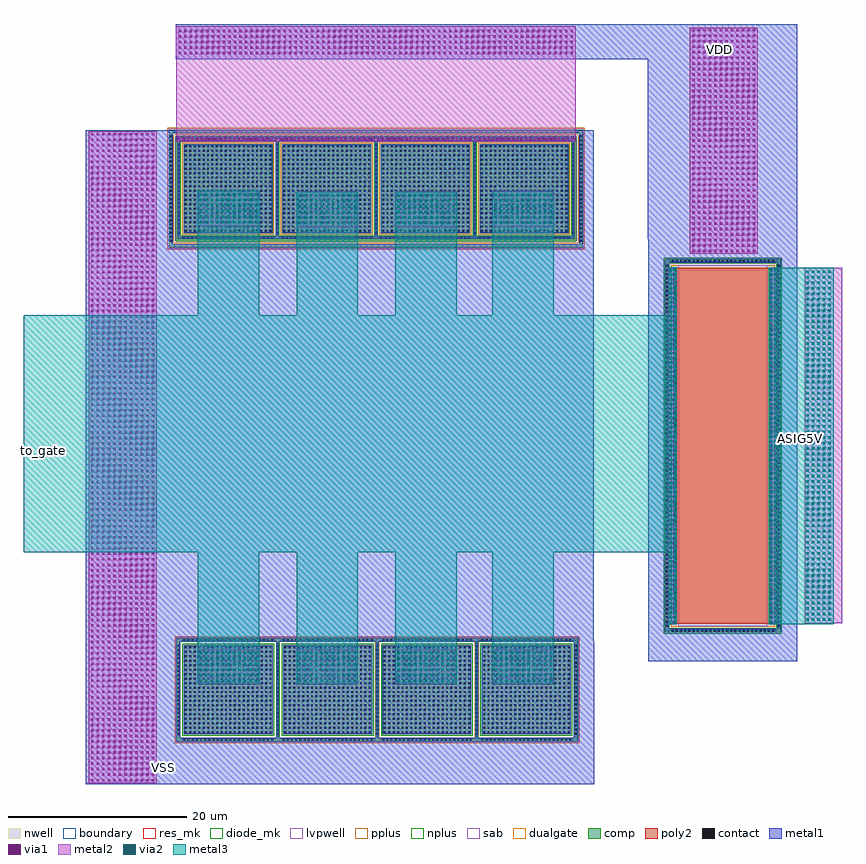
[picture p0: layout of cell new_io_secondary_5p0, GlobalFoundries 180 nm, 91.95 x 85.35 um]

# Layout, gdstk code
from math import pi, radians
import gdstk
lib = gdstk.Library(unit=1e-6, precision=5e-09)
def R(c, l, rs):  # rectangles x0, y0, x1, y1
    for r in rs: c.add(gdstk.rectangle(r[:2], r[2:], *l))
def A(c, l, x, y, w, h, nx, ny, dx, dy):  # array of equal rectangles
    R(c, l, [(x+i*dx, y+j*dy, x+i*dx+w, y+j*dy+h) for i in range(nx) for j in range(ny)])
boundary = (0, 0)
nwell = (21, 0)
comp = (22, 0)
poly2 = (30, 0)
pplus = (31, 0)
nplus = (32, 0)
contact = (33, 0)
metal1 = (34, 0)
via1 = (35, 0)
metal2 = (36, 0)
via2 = (38, 0)
metal3 = (42, 0)
sab = (49, 0)
dualgate = (55, 0)
res_mk = (110, 5)
diode_mk = (115, 5)
lvpwell = (204, 0)

ppolyf_u_9h3lnu = lib.new_cell('ppolyf_u_9H3LNU')
R(ppolyf_u_9h3lnu, boundary, [(-20.78,-6.29,20.78,6.29)])
R(ppolyf_u_9h3lnu, nwell, [(-21.08,-6.59,21.08,6.59)])
R(ppolyf_u_9h3lnu, comp, [(-20.96,-6.47,20.96,-6.11), (-20.96,-6.11,-20.6,6.11), (20.6,-6.11,20.96,6.11), (-20.96,6.11,20.96,6.47)])
R(ppolyf_u_9h3lnu, poly2, [(-20,-5.51,20,5.51)])
R(ppolyf_u_9h3lnu, pplus, [(-20.3,-5.81,20.3,5.81)])
R(ppolyf_u_9h3lnu, nplus, [(-21.12,-6.63,21.12,-6), (-21.12,-6,-20.49,6), (20.49,-6,21.12,6), (-21.12,6,21.12,6.63)])
A(ppolyf_u_9h3lnu, contact, -20.32, -6.4, 0.22, 0.22, 87, 2, 0.47, 12.58)
A(ppolyf_u_9h3lnu, contact, -20.89, -5.75, 0.22, 0.22, 1, 25, 0, 0.47)
A(ppolyf_u_9h3lnu, contact, 20.67, -5.75, 0.22, 0.22, 1, 25, 0, 0.47)
A(ppolyf_u_9h3lnu, contact, -19.85, -5.44, 0.22, 0.22, 85, 2, 0.47, 10.66)
R(ppolyf_u_9h3lnu, metal1, [(-20.895,-6.405,20.895,-6.175), (-20.895,-6.175,-20.665,6.175), (20.665,-6.175,20.895,6.175), (-19.99,-5.445,19.99,-5.215), (-19.99,5.215,19.99,5.445), (-20.895,6.175,20.895,6.405)])
R(ppolyf_u_9h3lnu, sab, [(-20.28,-5,20.28,5)])
R(ppolyf_u_9h3lnu, res_mk, [(-20,-5,20,5)])

diode_pd2nw_06v0_5dg9hc = lib.new_cell('diode_pd2nw_06v0_5DG9HC')
R(diode_pd2nw_06v0_5dg9hc, boundary, [(11.08,-5.54,22.16,5.54)])
R(diode_pd2nw_06v0_5dg9hc, nwell, [(-22.5,-5.88,22.5,5.88)])
A(diode_pd2nw_06v0_5dg9hc, comp, -22.34, -5.36, 0.36, 10.72, 5, 1, 11.08, 0)
A(diode_pd2nw_06v0_5dg9hc, comp, -21.62, -5, 10, 10, 4, 1, 11.08, 0)
R(diode_pd2nw_06v0_5dg9hc, comp, [(-23.22,-6.6,23.22,-6.24), (-23.22,-6.24,-22.86,6.24), (22.86,-6.24,23.22,6.24), (-22.34,-5.72,22.34,-5.36), (-22.34,5.36,22.34,5.72), (-23.22,6.24,23.22,6.6)])
A(diode_pd2nw_06v0_5dg9hc, pplus, -21.78, -5.16, 10.32, 10.32, 4, 1, 11.08, 0)
R(diode_pd2nw_06v0_5dg9hc, pplus, [(-23.24,-6.62,23.24,-6.115), (-23.25,-6.115,23.25,-6.08), (-23.25,-6.08,-22.7,6.08), (22.7,-6.08,23.25,6.08), (-23.25,6.08,23.25,6.115), (-23.24,6.115,23.24,6.62)])
A(diode_pd2nw_06v0_5dg9hc, nplus, -11.29, -5.29, 0.42, 10.58, 3, 1, 11.08, 0)
R(diode_pd2nw_06v0_5dg9hc, nplus, [(-22.5,-5.88,22.5,-5.29), (-22.5,-5.29,-21.91,5.29), (21.91,-5.29,22.5,5.29), (-22.5,5.29,22.5,5.88)])
A(diode_pd2nw_06v0_5dg9hc, contact, -23.15, -5.985, 0.22, 0.22, 1, 26, 0, 0.47)
A(diode_pd2nw_06v0_5dg9hc, contact, 22.93, -5.985, 0.22, 0.22, 1, 26, 0, 0.47)
A(diode_pd2nw_06v0_5dg9hc, contact, -21.665, -5.65, 0.22, 0.22, 22, 2, 0.47, 11.08)
A(diode_pd2nw_06v0_5dg9hc, contact, -10.585, -5.65, 0.22, 0.22, 22, 2, 0.47, 11.08)
A(diode_pd2nw_06v0_5dg9hc, contact, 0.495, -5.65, 0.22, 0.22, 22, 2, 0.47, 11.08)
A(diode_pd2nw_06v0_5dg9hc, contact, 11.575, -5.65, 0.22, 0.22, 22, 2, 0.47, 11.08)
A(diode_pd2nw_06v0_5dg9hc, contact, -22.27, -5.045, 0.22, 0.22, 5, 22, 11.08, 0.47)
A(diode_pd2nw_06v0_5dg9hc, contact, -21.48, -4.86, 0.22, 0.22, 20, 20, 0.5, 0.5)
A(diode_pd2nw_06v0_5dg9hc, contact, -10.4, -4.86, 0.22, 0.22, 20, 20, 0.5, 0.5)
A(diode_pd2nw_06v0_5dg9hc, contact, 0.68, -4.86, 0.22, 0.22, 20, 20, 0.5, 0.5)
A(diode_pd2nw_06v0_5dg9hc, contact, 11.76, -4.86, 0.22, 0.22, 20, 20, 0.5, 0.5)
A(diode_pd2nw_06v0_5dg9hc, metal1, -22.275, -5.425, 0.23, 10.85, 5, 1, 11.08, 0)
A(diode_pd2nw_06v0_5dg9hc, metal1, -21.61, -4.935, 9.98, 9.87, 4, 1, 11.08, 0)
R(diode_pd2nw_06v0_5dg9hc, metal1, [(-23.155,-6.535,23.155,-6.305), (-23.155,-6.305,-22.925,6.305), (22.925,-6.305,23.155,6.305), (-22.275,-5.655,22.275,-5.425), (-22.275,5.425,22.275,5.655), (-23.155,6.305,23.155,6.535)])
R(diode_pd2nw_06v0_5dg9hc, dualgate, [(-23.46,-6.84,23.46,6.84)])
A(diode_pd2nw_06v0_5dg9hc, diode_mk, -21.62, -5, 10, 10, 4, 1, 11.08, 0)
R(diode_pd2nw_06v0_5dg9hc, lvpwell, [(-23.38,-6.76,23.38,-5.88), (-23.38,-5.88,-22.5,5.88), (22.5,-5.88,23.38,5.88), (-23.38,5.88,23.38,6.76)])

diode_nd2ps_06v0_mv3sz3 = lib.new_cell('diode_nd2ps_06v0_MV3SZ3')
R(diode_nd2ps_06v0_mv3sz3, boundary, [(11.16,-5.58,22.32,5.58)])
A(diode_nd2ps_06v0_mv3sz3, comp, -22.5, -5.4, 0.36, 10.8, 5, 1, 11.16, 0)
A(diode_nd2ps_06v0_mv3sz3, comp, -21.74, -5, 10, 10, 4, 1, 11.16, 0)
R(diode_nd2ps_06v0_mv3sz3, comp, [(-22.5,-5.76,22.5,-5.4), (-22.5,5.4,22.5,5.76)])
A(diode_nd2ps_06v0_mv3sz3, pplus, -22.015, -5.79, 10.55, 0.01, 4, 2, 11.16, 11.57)
A(diode_nd2ps_06v0_mv3sz3, pplus, -11.37, -5.37, 0.42, 10.74, 3, 1, 11.16, 0)
R(diode_nd2ps_06v0_mv3sz3, pplus, [(-22.52,-5.78,22.52,-5.37), (-22.52,-5.37,-22.11,-5.275), (22.11,-5.37,22.52,-5.275), (-22.53,-5.275,-22.11,5.275), (22.11,-5.275,22.53,5.275), (-22.52,5.275,-22.11,5.37), (22.11,5.275,22.52,5.37), (-22.52,5.37,22.52,5.78)])
A(diode_nd2ps_06v0_mv3sz3, nplus, -21.9, -5.16, 10.32, 10.32, 4, 1, 11.16, 0)
A(diode_nd2ps_06v0_mv3sz3, contact, -21.785, -5.69, 0.22, 0.22, 22, 2, 0.47, 11.16)
A(diode_nd2ps_06v0_mv3sz3, contact, -10.625, -5.69, 0.22, 0.22, 22, 2, 0.47, 11.16)
A(diode_nd2ps_06v0_mv3sz3, contact, 0.535, -5.69, 0.22, 0.22, 22, 2, 0.47, 11.16)
A(diode_nd2ps_06v0_mv3sz3, contact, 11.695, -5.69, 0.22, 0.22, 22, 2, 0.47, 11.16)
A(diode_nd2ps_06v0_mv3sz3, contact, -22.43, -5.045, 0.22, 0.22, 5, 22, 11.16, 0.47)
A(diode_nd2ps_06v0_mv3sz3, contact, -21.6, -4.86, 0.22, 0.22, 20, 20, 0.5, 0.5)
A(diode_nd2ps_06v0_mv3sz3, contact, -10.44, -4.86, 0.22, 0.22, 20, 20, 0.5, 0.5)
A(diode_nd2ps_06v0_mv3sz3, contact, 0.72, -4.86, 0.22, 0.22, 20, 20, 0.5, 0.5)
A(diode_nd2ps_06v0_mv3sz3, contact, 11.88, -4.86, 0.22, 0.22, 20, 20, 0.5, 0.5)
A(diode_nd2ps_06v0_mv3sz3, metal1, -22.435, -5.465, 0.23, 10.93, 5, 1, 11.16, 0)
A(diode_nd2ps_06v0_mv3sz3, metal1, -21.73, -4.935, 9.98, 9.87, 4, 1, 11.16, 0)
R(diode_nd2ps_06v0_mv3sz3, metal1, [(-22.435,-5.695,22.435,-5.465), (-22.435,5.465,22.435,5.695)])
R(diode_nd2ps_06v0_mv3sz3, dualgate, [(-22.74,-6,22.74,6)])
A(diode_nd2ps_06v0_mv3sz3, diode_mk, -21.74, -5, 10, 10, 4, 1, 11.16, 0)
R(diode_nd2ps_06v0_mv3sz3, lvpwell, [(-22.62,-5.88,22.62,5.88)])

new_io_secondary_5p0 = lib.new_cell('new_io_secondary_5p0')
R(new_io_secondary_5p0, metal1, [(-42.3,-24.15,14.76,-19.05), (-42.3,-19.05,-31.79,-8.25), (12.51,-19.05,14.76,-9.4), (-29.7,-12.95,-22.9,-12.065), (-18.6,-12.95,-11.8,-12.065), (-7.5,-12.95,-0.7,-12.05), (3.4,-12.95,10.2,-12.05), (-29.71,-12.065,-22.9,-9.145), (-18.625,-12.065,-11.8,-9.145), (-7.5,-12.05,-0.695,-9.13), (3.4,-12.05,10.205,-9.13), (20.85,-10.35,37.6,-6.7), (12.5,-9.4,14.76,-8.25), (-29.7,-9.145,-22.9,-9.1), (-18.6,-9.145,-11.8,-9.1), (-7.5,-9.13,-0.7,-9.1), (3.4,-9.13,10.2,-9.1), (-42.3,-8.25,-31.8,-8.1), (12.5,-8.25,14.75,-8.1), (-42.3,-8.1,14.75,36.45), (20.85,-6.7,23.15,34.4), (35.35,-6.7,37.6,34.4), (23.4,-6.2,24.05,33.85), (34.4,-6.2,35.05,33.85), (20.85,34.4,37.6,37.05), (-42.3,36.45,-32.55,49.25), (13.1,36.45,14.75,49.25), (20.8,37.05,37.6,57.24), (-18.6,38.5,-11.8,38.565), (-7.5,38.5,-0.7,38.545), (-7.505,38.545,-0.7,41.465), (3.4,38.55,10.2,38.615), (-18.63,38.565,-11.8,41.485), (-29.7,38.6,-22.9,38.66), (3.4,38.615,10.205,41.535), (-29.715,38.66,-22.9,41.58), (-7.5,41.465,-0.7,42.35), (-18.6,41.485,-11.8,42.35), (3.4,41.535,10.2,42.4), (-29.7,41.58,-22.9,42.45), (-32.1,48.05,-31.85,48.1), (12.45,48.05,12.7,48.1), (-32.1,48.1,12.7,48.55), (-32.1,48.55,-31.85,48.6), (12.45,48.55,12.7,48.6), (20.7,57.24,37.6,57.25), (-32.2,57.25,37.6,61.2)])
A(new_io_secondary_5p0, via1, -41.715, -23.85, 0.26, 0.26, 12, 118, 0.62, 0.62)
A(new_io_secondary_5p0, via1, -29.53, -12.705, 0.26, 0.26, 11, 6, 0.62, 0.62)
A(new_io_secondary_5p0, via1, -18.43, -12.705, 0.26, 0.26, 11, 6, 0.62, 0.62)
A(new_io_secondary_5p0, via1, -7.33, -12.705, 0.26, 0.26, 11, 6, 0.62, 0.62)
A(new_io_secondary_5p0, via1, 3.57, -12.705, 0.26, 0.26, 11, 6, 0.62, 0.62)
A(new_io_secondary_5p0, via1, 23.595, -6.065, 0.26, 0.26, 1, 77, 0, 0.52)
A(new_io_secondary_5p0, via1, 34.595, -6.065, 0.26, 0.26, 1, 77, 0, 0.52)
A(new_io_secondary_5p0, via1, 25.785, 35.57, 0.26, 0.26, 12, 41, 0.62, 0.62)
A(new_io_secondary_5p0, via1, -18.43, 38.745, 0.26, 0.26, 11, 6, 0.62, 0.62)
A(new_io_secondary_5p0, via1, -7.33, 38.745, 0.26, 0.26, 11, 6, 0.62, 0.62)
A(new_io_secondary_5p0, via1, 3.57, 38.795, 0.26, 0.26, 11, 6, 0.62, 0.62)
A(new_io_secondary_5p0, via1, -29.53, 38.845, 0.26, 0.26, 11, 6, 0.62, 0.62)
A(new_io_secondary_5p0, via1, -31.99, 48.195, 0.26, 0.26, 86, 1, 0.52, 0)
A(new_io_secondary_5p0, via1, -31.89, 57.805, 0.26, 0.26, 72, 5, 0.62, 0.62)
A(new_io_secondary_5p0, metal2, -29.7, -13, 6.8, 0.9, 3, 1, 11.1, 0)
R(new_io_secondary_5p0, metal2, [(-42,-24.05,-34.35,49.15), (3.4,-13,10.2,-12.15), (3.35,-12.15,10.25,-9.13), (-29.75,-12.1,-22.85,-9.145), (-18.65,-12.1,-11.75,-9.145), (-7.55,-12.1,-0.65,-9.13), (-29.7,-9.145,-22.9,-9), (-18.6,-9.145,-11.8,-9), (-7.5,-9.13,-0.7,-9), (3.4,-9.13,10.2,-9), (23.1,-6.2,24.05,33.85), (34.4,-6.2,35.25,33.85), (38.4,-6.1,42.65,33.8), (25.5,35.4,33.15,60.8), (-18.6,38.4,-11.8,38.565), (-7.5,38.4,-0.7,38.545), (3.4,38.45,10.2,38.615), (-29.7,38.5,-22.9,38.66), (-7.55,38.545,-0.65,41.65), (-18.65,38.565,-11.75,41.65), (3.35,38.615,10.25,41.6), (-29.75,38.66,-22.85,41.65), (3.4,41.6,10.2,42.45), (-29.7,41.65,-22.9,42.5), (-18.6,41.65,-11.8,42.4), (-7.5,41.65,-0.7,42.4), (-32.15,48,12.7,55.6), (-32.155,55.6,12.7,56.94), (-32.165,56.94,12.7,57.6), (-32.2,57.6,12.7,60.95)])
A(new_io_secondary_5p0, via2, -29.53, -12.68, 0.26, 0.26, 11, 6, 0.62, 0.62)
A(new_io_secondary_5p0, via2, -18.43, -12.68, 0.26, 0.26, 11, 6, 0.62, 0.62)
A(new_io_secondary_5p0, via2, -7.33, -12.68, 0.26, 0.26, 11, 6, 0.62, 0.62)
A(new_io_secondary_5p0, via2, 3.57, -12.68, 0.26, 0.26, 11, 6, 0.62, 0.62)
A(new_io_secondary_5p0, via2, 23.21, -6.065, 0.26, 0.26, 1, 77, 0, 0.52)
A(new_io_secondary_5p0, via2, 23.73, -6.065, 0.26, 0.26, 1, 77, 0, 0.52)
A(new_io_secondary_5p0, via2, 34.46, -6.065, 0.26, 0.26, 1, 77, 0, 0.52)
A(new_io_secondary_5p0, via2, 34.98, -6.065, 0.26, 0.26, 1, 77, 0, 0.52)
A(new_io_secondary_5p0, via2, 38.605, -5.81, 0.26, 0.26, 5, 64, 0.62, 0.62)
A(new_io_secondary_5p0, via2, -18.43, 38.72, 0.26, 0.26, 11, 6, 0.62, 0.62)
A(new_io_secondary_5p0, via2, -7.33, 38.72, 0.26, 0.26, 11, 6, 0.62, 0.62)
A(new_io_secondary_5p0, via2, 3.57, 38.77, 0.26, 0.26, 11, 6, 0.62, 0.62)
A(new_io_secondary_5p0, via2, -29.53, 38.82, 0.26, 0.26, 11, 6, 0.62, 0.62)
A(new_io_secondary_5p0, metal3, -29.75, -12.95, 6.9, 14.815, 3, 1, 11.1, 0)
R(new_io_secondary_5p0, metal3, [(3.35,-12.95,10.25,1.865), (23.18,-6.22,24.065,1.865), (34.4,-6.2,41.7,33.85), (-49.295,1.865,24.065,28.48), (-29.75,28.48,-22.85,42.45), (-18.65,28.48,-11.75,42.35), (-7.55,28.48,-0.65,42.35), (3.35,28.48,10.25,42.4), (23.18,28.48,24.065,33.86)])
new_io_secondary_5p0.add(gdstk.Reference(ppolyf_u_9h3lnu, (29.235,13.83), rotation=3*pi/2))
new_io_secondary_5p0.add(gdstk.Reference(diode_pd2nw_06v0_5dg9hc, (-9.72,42.71)))
new_io_secondary_5p0.add(gdstk.Reference(diode_nd2ps_06v0_mv3sz3, (-9.58,-13.57)))
new_io_secondary_5p0.add(gdstk.Label('ASIG5V', (38,14.65), layer=42, texttype=10))
new_io_secondary_5p0.add(gdstk.Label('to_gate', (-47.09,13.275), layer=42, texttype=10))
new_io_secondary_5p0.add(gdstk.Label('VDD', (28.8,58.35), layer=34, texttype=10))
new_io_secondary_5p0.add(gdstk.Label('VSS', (-33.54,-22.25), layer=34, texttype=10))

lib.write_gds('new_io_secondary_5p0.gds')
